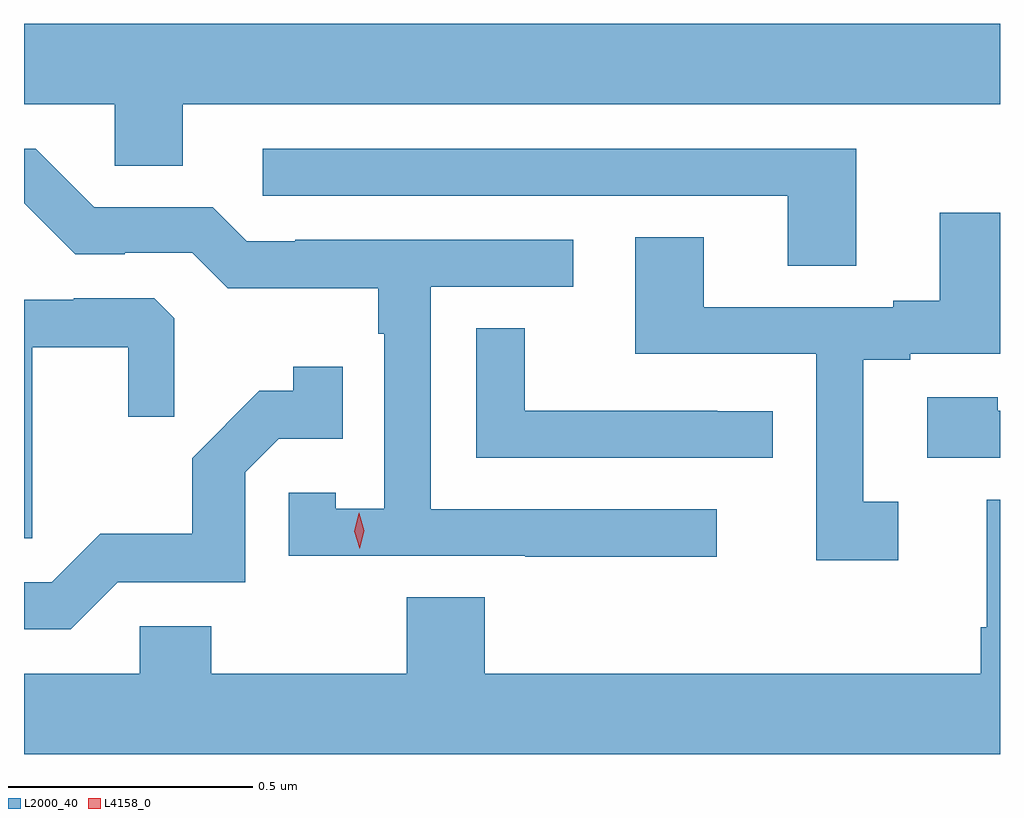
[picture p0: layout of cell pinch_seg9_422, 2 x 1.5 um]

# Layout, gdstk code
import gdstk
lib = gdstk.Library(unit=1e-6, precision=1e-09)
def P(c, l, *ps):  # polygons
    for p in ps: c.add(gdstk.Polygon(p, *l))
L2000_40 = (2000, 40)
L4158_0 = (4158, 0)

pinch_seg9_422 = lib.new_cell('pinch_seg9_422')
P(pinch_seg9_422, L2000_40, [(349.021,1215.068),(350.696,1215.068),(350.696,1215.232),(348.696,1215.232),(348.696,1215.068),(348.882,1215.068),(348.882,1214.941),(349.021,1214.941)],
  [(350.401,1214.976),(349.185,1214.976),(349.185,1214.88),(350.261,1214.88),(350.261,1214.737),(350.401,1214.737)],
  [(350.116,1214.238),(349.53,1214.238),(349.53,1214.694),(349.822,1214.694),(349.822,1214.79),(349.252,1214.79),(349.252,1214.787),(349.152,1214.787),(349.083,1214.856),(348.84,1214.856),(348.72,1214.976),(348.696,1214.976),(348.696,1214.865),(348.801,1214.76),(348.902,1214.76),(348.902,1214.763),(349.041,1214.763),(349.114,1214.69),(349.422,1214.69),(349.422,1214.597),(349.434,1214.597),(349.434,1214.239),(349.335,1214.239),(349.335,1214.271),(349.239,1214.271),(349.239,1214.142),(349.723,1214.142),(349.723,1214.14),(350.116,1214.14)],
  [(350.488,1214.253),(350.416,1214.253),(350.416,1214.544),(350.512,1214.544),(350.512,1214.556),(350.696,1214.556),(350.696,1214.845),(350.573,1214.845),(350.573,1214.665),(350.477,1214.665),(350.477,1214.652),(350.089,1214.652),(350.089,1214.795),(349.949,1214.795),(349.949,1214.556),(350.319,1214.556),(350.319,1214.133),(350.488,1214.133)],
  [(348.713,1214.57),(348.91,1214.57),(348.91,1214.427),(349.004,1214.427),(349.004,1214.629),(348.963,1214.67),(348.798,1214.67),(348.798,1214.667),(348.696,1214.667),(348.696,1214.178),(348.713,1214.178)],
  [(350.23,1214.438),(350.117,1214.438),(350.117,1214.439),(349.722,1214.439),(349.722,1214.609),(349.623,1214.609),(349.623,1214.343),(350.23,1214.343)],
  [(348.888,1214.088),(349.149,1214.088),(349.149,1214.313),(349.218,1214.382),(349.349,1214.382),(349.349,1214.53),(349.248,1214.53),(349.248,1214.48),(349.178,1214.48),(349.041,1214.342),(349.041,1214.187),(348.852,1214.187),(348.753,1214.088),(348.696,1214.088),(348.696,1213.992),(348.792,1213.992)],
  [(350.696,1214.439),(350.691,1214.439),(350.691,1214.467),(350.547,1214.467),(350.547,1214.343),(350.696,1214.343)],
  [(350.696,1214.257),(350.669,1214.257),(350.669,1213.996),(350.657,1213.996),(350.657,1213.9),(349.64,1213.9),(349.64,1214.057),(349.48,1214.057),(349.48,1213.9),(349.08,1213.9),(349.08,1213.998),(348.933,1213.998),(348.933,1213.9),(348.696,1213.9),(348.696,1213.736),(350.696,1213.736)])
P(pinch_seg9_422, L4158_0, [(349.384,1214.157),(349.384,1214.157),(349.373,1214.193),(349.382,1214.229),(349.383,1214.23),(349.383,1214.229),(349.393,1214.194),(349.384,1214.157)])

lib.write_gds('pinch_seg9_422.gds')
